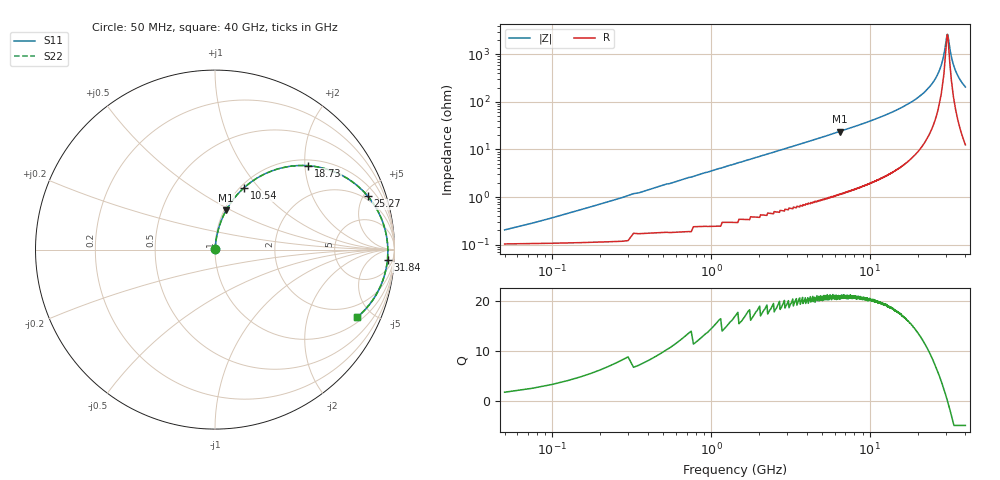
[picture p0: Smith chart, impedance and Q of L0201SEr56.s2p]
# MHZ S MA R 50
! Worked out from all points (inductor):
!   1601 points, 50 MHz to 40 GHz, reference 50 ohm
!   read as one part in series: L = 560 pH near 249.8 MHz
!   highest Q = 21.2 at 6.442 GHz (marker M1), where L = 585 pH
!   self-resonance near 30.8 GHz
!   S11 on the Smith chart (normalised r, x): 50 MHz: 1.00, +0.00; 10.54 GHz: 1.04, +0.84; 18.73 GHz: 1.14, +2.08; 25.27 GHz: 1.69, +5.36; 31.84 GHz: 16, -24; 40 GHz: 1.25, -4.09
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50  0.002059 58.5  0.999 -0.1  0.999 -0.1  0.002059 58.5
324.656  0.012 82.0  0.998 -0.7  0.998 -0.7  0.012 82.0
524.406  0.019 83.5  0.998 -1.1  0.998 -1.1  0.019 83.5
923.906  0.033 84.0  0.997 -1.9  0.997 -1.9  0.033 84.0
1523.156  0.054 83.5  0.995 -3.1  0.995 -3.1  0.054 83.5
2347.125  0.083 82.2  0.992 -4.7  0.992 -4.7  0.083 82.2
3420.781  0.12 80.2  0.987 -6.9  0.987 -6.9  0.12 80.2
6442  0.228 74.1  0.963 -13.2  0.963 -13.2  0.228 74.1
6716.656  0.238 73.5  0.96 -13.8  0.96 -13.8  0.238 73.5
10536.88  0.381 64.8  0.906 -22.3  0.906 -22.3  0.381 64.8
13383.31  0.491 57.6  0.845 -29.4  0.845 -29.4  0.491 57.6
18726.62  0.699 41.9  0.669 -44.3  0.669 -44.3  0.699 41.9
20025  0.747 37.7  0.613 -48.2  0.613 -48.2  0.747 37.7
25268.44  0.901 19.3  0.334 -63.4  0.334 -63.4  0.901 19.3
26691.66  0.928 14.2  0.249 -66.3  0.249 -66.3  0.928 14.2
28863.94  0.954 6.6  0.121 -64.6  0.121 -64.6  0.954 6.6
30711.62  0.963 0.3  0.037 -7.8  0.037 -7.8  0.963 0.3
31086.16  0.963 -0.9  0.04 23.0  0.04 23.0  0.963 -0.9
31835.22  0.963 -3.4  0.069 55.2  0.069 55.2  0.963 -3.4
33358.31  0.956 -8.1  0.145 68.4  0.145 68.4  0.956 -8.1
36104.88  0.931 -15.9  0.275 67.7  0.275 67.7  0.931 -15.9
40000  0.878 -25.3  0.428 61.2  0.428 61.2  0.878 -25.3
